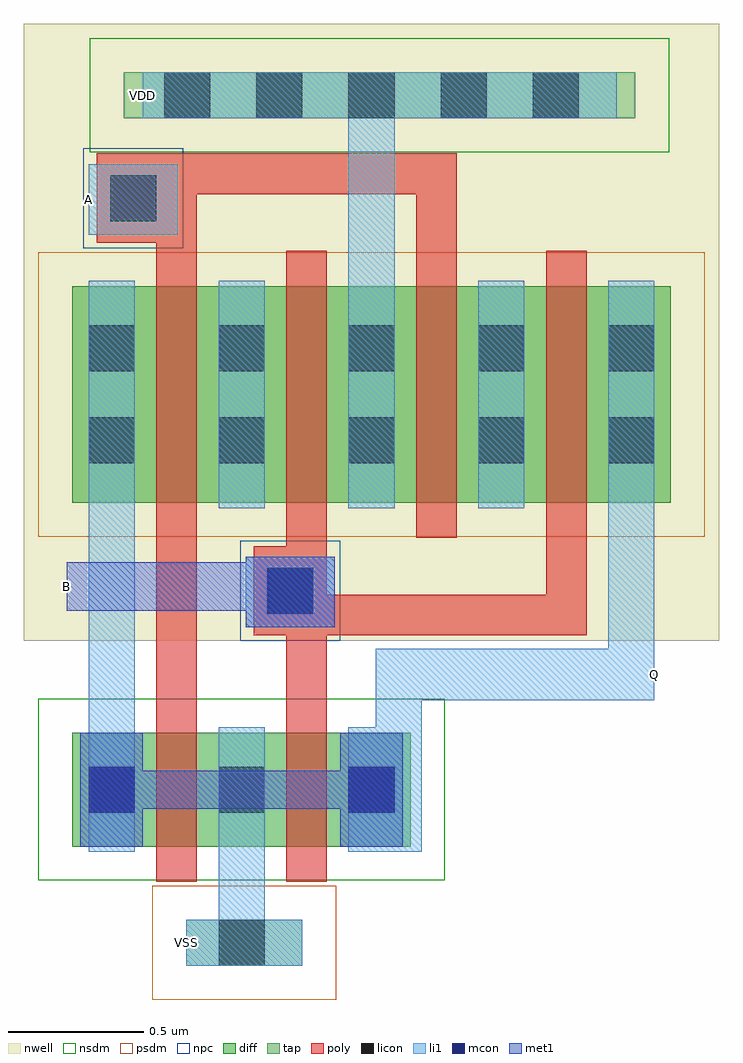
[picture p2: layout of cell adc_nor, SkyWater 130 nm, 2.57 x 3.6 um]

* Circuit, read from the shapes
.subckt adc_nor A B Q VDD VSS
XM1 VSS A Q VSS sky130_fd_pr__nfet_01v8 w=0.42 l=0.15
XM2 Q B VSS VSS sky130_fd_pr__nfet_01v8 w=0.42 l=0.15
XM3 n1 A Q VDD sky130_fd_pr__pfet_01v8 w=0.8 l=0.15
XM4 VDD B n1 VDD sky130_fd_pr__pfet_01v8 w=0.8 l=0.15
XM5 n2 A VDD VDD sky130_fd_pr__pfet_01v8 w=0.8 l=0.15
XM6 Q B n2 VDD sky130_fd_pr__pfet_01v8 w=0.8 l=0.15
.ends

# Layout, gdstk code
import gdstk
lib = gdstk.Library(unit=1e-6, precision=1e-09)
def R(c, l, rs):  # rectangles x0, y0, x1, y1
    for r in rs: c.add(gdstk.rectangle(r[:2], r[2:], *l))
def A(c, l, x, y, w, h, nx, ny, dx, dy):  # array of equal rectangles
    R(c, l, [(x+i*dx, y+j*dy, x+i*dx+w, y+j*dy+h) for i in range(nx) for j in range(ny)])
nwell = (64, 20)
diff = (65, 20)
tap = (65, 44)
poly = (66, 20)
licon = (66, 44)
li1 = (67, 20)
mcon = (67, 44)
met1 = (68, 20)
nsdm = (93, 44)
psdm = (94, 20)
npc = (95, 20)

adc_nor = lib.new_cell('adc_nor')
R(adc_nor, nwell, [(-0.04,0.02,2.53,2.3)])
R(adc_nor, diff, [(0.14,-0.74,1.39,-0.32), (0.14,0.53,2.35,1.33)])
R(adc_nor, tap, [(0.56,-1.18,0.99,-1.01), (0.33,1.95,2.22,2.12)])
R(adc_nor, poly, [(0.45,-0.87,0.6,1.49), (0.93,-0.87,1.08,0.04), (0.81,0.04,2.04,0.19), (0.81,0.19,1.08,0.37), (1.89,0.19,2.04,1.46), (0.93,0.37,1.08,1.46), (1.41,0.4,1.56,1.67), (0.23,1.49,0.6,1.67), (0.23,1.67,1.56,1.82)])
A(adc_nor, licon, 0.2, -0.615, 0.17, 0.17, 3, 1, 0.48, 0)
A(adc_nor, licon, 0.2, 0.675, 0.17, 0.17, 5, 2, 0.48, 0.34)
A(adc_nor, licon, 0.48, 1.95, 0.17, 0.17, 5, 1, 0.34, 0)
R(adc_nor, licon, [(0.68,-1.18,0.85,-1.01), (0.86,0.12,1.03,0.29), (0.28,1.57,0.45,1.74)])
R(adc_nor, li1, [(0.56,-1.18,0.99,-1.01), (0.68,-1.01,0.85,-0.3), (0.2,-0.76,0.37,1.35), (1.16,-0.76,1.43,-0.3), (1.26,-0.3,1.43,-0.2), (1.26,-0.2,2.29,-0.01), (2.12,-0.01,2.29,1.35), (0.78,0.07,1.11,0.33), (0.68,0.51,0.85,1.35), (1.16,0.51,1.33,1.95), (1.64,0.51,1.81,1.35), (0.2,1.52,0.53,1.78), (0.4,1.95,2.15,2.12)])
R(adc_nor, mcon, [(0.2,-0.615,0.37,-0.445), (1.16,-0.615,1.33,-0.445), (0.86,0.12,1.03,0.29)])
R(adc_nor, met1, [(0.17,-0.74,0.4,-0.6), (1.13,-0.74,1.36,-0.6), (0.17,-0.6,1.36,-0.46), (0.17,-0.46,0.4,-0.32), (1.13,-0.46,1.36,-0.32), (0.78,0.07,1.11,0.13), (0.12,0.13,1.11,0.31), (0.78,0.31,1.11,0.33)])
R(adc_nor, nsdm, [(0.015,-0.865,1.515,-0.195), (0.205,1.825,2.345,2.245)])
R(adc_nor, psdm, [(0.435,-1.305,1.115,-0.885), (0.015,0.405,2.475,1.455)])
R(adc_nor, npc, [(0.76,0.02,1.13,0.39), (0.18,1.47,0.55,1.84)])
adc_nor.add(gdstk.Label('VDD', (0.4,2.035), layer=67, texttype=16))
adc_nor.add(gdstk.Label('VSS', (0.56,-1.095), layer=67, texttype=16))
adc_nor.add(gdstk.Label('B', (0.12,0.22), layer=68, texttype=16))
adc_nor.add(gdstk.Label('Q', (2.29,-0.105), layer=67, texttype=16))
adc_nor.add(gdstk.Label('A', (0.2,1.65), layer=67, texttype=16))

lib.write_gds('adc_nor.gds')
